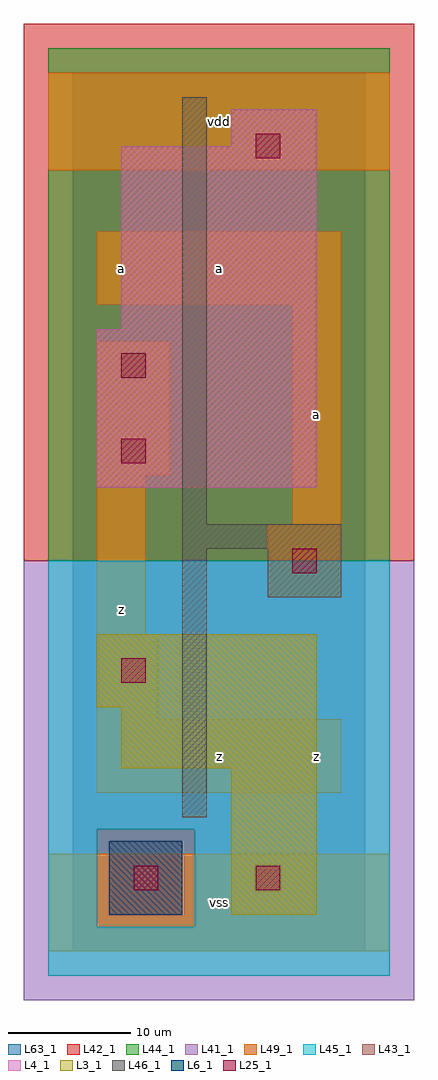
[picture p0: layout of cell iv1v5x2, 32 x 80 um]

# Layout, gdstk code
import gdstk
lib = gdstk.Library(unit=1e-6, precision=1e-09)
def R(c, l, rs):  # rectangles x0, y0, x1, y1
    for r in rs: c.add(gdstk.rectangle(r[:2], r[2:], *l))
L3_1 = (3, 1)
L4_1 = (4, 1)
L6_1 = (6, 1)
L25_1 = (25, 1)
L41_1 = (41, 1)
L42_1 = (42, 1)
L43_1 = (43, 1)
L44_1 = (44, 1)
L45_1 = (45, 1)
L46_1 = (46, 1)
L49_1 = (49, 1)
L63_1 = (63, 1)

iv1v5x2 = lib.new_cell('iv1v5x2')
R(iv1v5x2, L3_1, [(13,3,20,15), (4,15,20,20), (2,20,20,26)])
R(iv1v5x2, L4_1, [(2,38,20,51), (4,51,20,66), (13,66,20,69)])
R(iv1v5x2, L6_1, [(3,3,9,9), (3,3,9,9)])
R(iv1v5x2, L25_1, [(5,5,7,7), (15,5,17,7), (4,22,6,24), (18,31,20,33), (4,40,6,42), (4,47,6,49), (15,65,17,67)])
R(iv1v5x2, L41_1, [(-4,-4,28,32)])
R(iv1v5x2, L42_1, [(-4,32,28,76)])
R(iv1v5x2, L43_1, [(3,3,9,9), (13,3,20,15), (4,15,20,20), (2,20,20,26), (2,38,20,51), (4,51,20,66), (13,66,20,69)])
R(iv1v5x2, L44_1, [(2,2,10,10), (-2,32,26,74)])
R(iv1v5x2, L45_1, [(-2,-2,26,2), (-2,2,2,10), (10,2,26,10), (-2,10,26,32)])
R(iv1v5x2, L46_1, [(9,11,11,33), (16,29,22,33), (9,33,22,35), (9,35,11,70)])
R(iv1v5x2, L49_1, [(-2,0,26,8), (2,13,22,19), (2,19,7,26), (2,26,6,39), (16,29,22,35), (18,35,22,53), (2,39,8,50), (2,53,22,59), (-2,64,26,72)])
R(iv1v5x2, L63_1, [(0,0,24,72)])
iv1v5x2.add(gdstk.Label('z', (4,28), layer=49, texttype=1))
iv1v5x2.add(gdstk.Label('a', (4,56), layer=49, texttype=1))
iv1v5x2.add(gdstk.Label('vss', (12,4), layer=49, texttype=1))
iv1v5x2.add(gdstk.Label('z', (12,16), layer=49, texttype=1))
iv1v5x2.add(gdstk.Label('a', (12,56), layer=49, texttype=1))
iv1v5x2.add(gdstk.Label('vdd', (12,68), layer=49, texttype=1))
iv1v5x2.add(gdstk.Label('z', (20,16), layer=49, texttype=1))
iv1v5x2.add(gdstk.Label('a', (20,44), layer=49, texttype=1))

lib.write_gds('iv1v5x2.gds')
